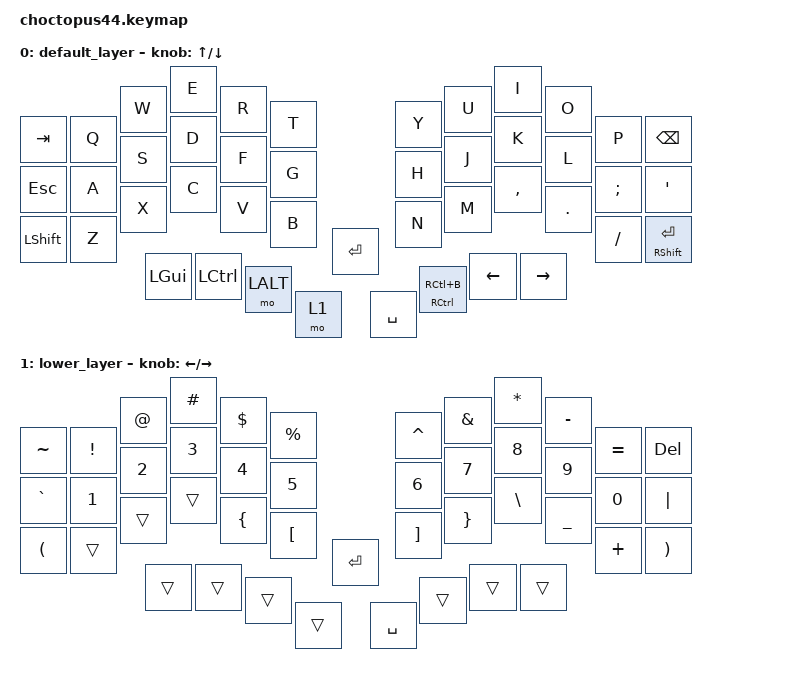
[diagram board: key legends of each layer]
/*
 * Copyright (c) 2021 The ZMK Contributors
 *
 * SPDX-License-Identifier: MIT
 */

#include <behaviors.dtsi>
#include <dt-bindings/zmk/keys.h>
#include <dt-bindings/zmk/bt.h>
#include <dt-bindings/zmk/rgb.h>

&mt {
    tapping-term-ms = <400>;
};

/ {
  keymap {
    compatible = "zmk,keymap";


    default_layer {
      bindings = <
        &kp TAB     &kp Q     &kp W       &kp E     &kp R    &kp T                &kp Y     &kp U     &kp I      &kp O    &kp P     &kp BSPC
        &kp ESC     &kp A     &kp S       &kp D     &kp F    &kp G                &kp H     &kp J     &kp K      &kp L    &kp SEMI  &kp SQT
        &kp LSHFT   &kp Z     &kp X       &kp C     &kp V    &kp B      &kp RET   &kp N     &kp M     &kp COMMA  &kp DOT  &kp FSLH  &mt RSHFT RET
                              &kp LGUI   &kp LCTRL  &mo LALT    &mo 1            &kp SPACE  &mt RCTRL RC(B) &kp LEFT   &kp RIGHT
      >;
      sensor-bindings = <&inc_dec_kp UP DOWN>;
    };

    lower_layer {
      bindings = <
        &kp TILDE    &kp EXCL    &kp AT  &kp HASH   &kp DLLR   &kp PRCNT                          &kp CARET              &kp AMPS            &kp STAR      &kp MINUS     &kp EQUAL   &kp DEL
        &kp GRAVE    &kp N1    &kp N2  &kp N3   &kp N4   &kp N5                          &kp N6              &kp N7            &kp N8      &kp N9      &kp N0    &kp PIPE
        &kp LPAR    &trans    &trans  &trans   &kp LBRC    &kp LBKT    &kp RET	&kp RBKT &kp RBRC   &kp BSLH   &kp UNDER &kp PLUS    &kp RPAR
                            &trans  &trans   &trans   &trans                          &kp SPACE              &trans             &trans      &trans
      >;
      sensor-bindings = <&inc_dec_kp LEFT RIGHT>;
    };
  };
};
